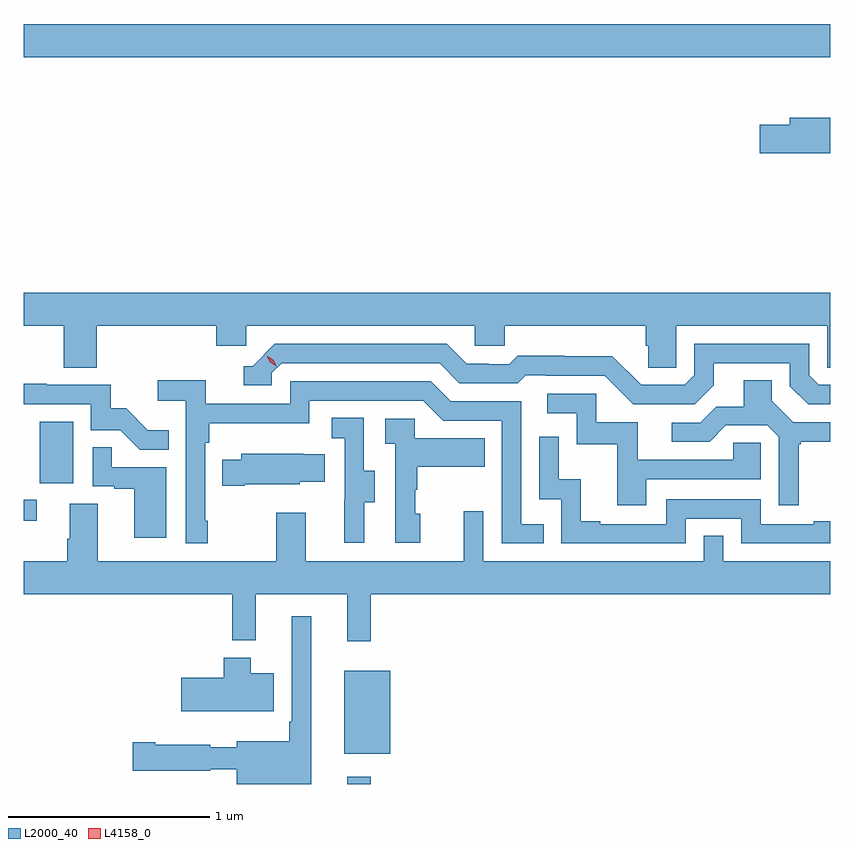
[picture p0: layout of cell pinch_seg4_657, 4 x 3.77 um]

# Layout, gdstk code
import gdstk
lib = gdstk.Library(unit=1e-6, precision=1e-09)
def R(c, l, rs):  # rectangles x0, y0, x1, y1
    for r in rs: c.add(gdstk.rectangle(r[:2], r[2:], *l))
def P(c, l, *ps):  # polygons
    for p in ps: c.add(gdstk.Polygon(p, *l))
L2000_40 = (2000, 40)
L4158_0 = (4158, 0)

pinch_seg4_657 = lib.new_cell('pinch_seg4_657')
R(pinch_seg4_657, L2000_40, [(1126.106,765.244,1126.223,765.28), (1126.091,765.395,1126.318,765.805), (1124.501,766.548,1124.566,766.653), (1124.582,766.734,1124.746,767.041), (1124.501,768.848,1128.501,769.012)])
P(pinch_seg4_657, L2000_40, [(1128.501,768.547),(1128.299,768.547),(1128.299,768.513),(1128.15,768.513),(1128.15,768.371),(1128.501,768.371)],
  [(1124.864,767.516),(1125.455,767.516),(1125.455,767.418),(1125.606,767.418),(1125.606,767.516),(1126.737,767.516),(1126.737,767.418),(1126.887,767.418),(1126.887,767.516),(1127.585,767.516),(1127.585,767.418),(1127.599,767.418),(1127.599,767.308),(1127.736,767.308),(1127.736,767.516),(1128.486,767.516),(1128.486,767.308),(1128.501,767.308),(1128.501,767.68),(1124.501,767.68),(1124.501,767.516),(1124.699,767.516),(1124.699,767.308),(1124.864,767.308)],
  [(1127.923,767.221),(1127.923,767.331),(1128.3,767.331),(1128.3,767.217),(1128.39,767.127),(1128.501,767.127),(1128.501,767.223),(1128.444,767.223),(1128.396,767.271),(1128.396,767.427),(1127.826,767.427),(1127.826,767.271),(1127.778,767.223),(1127.562,767.223),(1127.42,767.365),(1127.184,767.365),(1127.184,767.368),(1126.951,767.368),(1126.909,767.325),(1126.806,767.325),(1126.806,767.328),(1126.699,767.328),(1126.6,767.427),(1125.747,767.427),(1125.636,767.316),(1125.593,767.316),(1125.593,767.22),(1125.732,767.22),(1125.732,767.283),(1125.78,767.331),(1126.563,767.331),(1126.662,767.232),(1126.951,767.232),(1126.99,767.271),(1127.089,767.271),(1127.089,767.268),(1127.382,767.268),(1127.523,767.127),(1127.829,767.127)],
  [(1125.415,766.549),(1125.402,766.549),(1125.402,766.937),(1125.422,766.937),(1125.422,767.033),(1125.918,767.033),(1125.918,767.145),(1126.482,767.145),(1126.581,767.046),(1126.872,767.046),(1126.872,766.437),(1127.081,766.437),(1127.081,766.533),(1126.968,766.533),(1126.968,767.142),(1126.618,767.142),(1126.519,767.241),(1125.822,767.241),(1125.822,767.13),(1125.404,767.13),(1125.404,767.246),(1125.165,767.246),(1125.165,767.144),(1125.306,767.144),(1125.306,766.437),(1125.415,766.437)],
  [(1128.343,766.929),(1128.355,766.929),(1128.355,766.94),(1128.501,766.94),(1128.501,767.037),(1128.318,767.037),(1128.211,767.144),(1128.211,767.246),(1128.071,767.246),(1128.071,767.114),(1127.936,767.114),(1127.856,767.034),(1127.715,767.034),(1127.715,766.941),(1127.902,766.941),(1127.983,767.022),(1128.189,767.022),(1128.246,766.965),(1128.246,766.626),(1128.343,766.626)],
  [(1125.221,766.999),(1125.117,766.999),(1125.01,767.106),(1124.934,767.106),(1124.934,767.223),(1124.615,767.223),(1124.615,767.228),(1124.501,767.228),(1124.501,767.127),(1124.835,767.127),(1124.835,766.998),(1124.979,766.998),(1125.077,766.9),(1125.221,766.9)],
  [(1127.587,766.755),(1128.156,766.755),(1128.156,766.935),(1128.019,766.935),(1128.019,766.851),(1127.545,766.851),(1127.545,767.037),(1127.34,767.037),(1127.34,767.178),(1127.097,767.178),(1127.097,767.082),(1127.244,767.082),(1127.244,766.929),(1127.443,766.929),(1127.443,766.626),(1127.587,766.626)],
  [(1126.189,766.642),(1126.243,766.642),(1126.243,766.797),(1126.188,766.797),(1126.188,767.06),(1126.029,767.06),(1126.029,766.957),(1126.092,766.957),(1126.092,766.653),(1126.091,766.653),(1126.091,766.44),(1126.189,766.44)],
  [(1126.468,766.584),(1126.443,766.584),(1126.443,766.703),(1126.453,766.703),(1126.453,766.817),(1126.787,766.817),(1126.787,766.957),(1126.44,766.957),(1126.44,767.055),(1126.293,767.055),(1126.293,766.931),(1126.344,766.931),(1126.344,766.44),(1126.468,766.44)],
  [(1127.784,766.56),(1128.06,766.56),(1128.06,766.437),(1128.501,766.437),(1128.501,766.546),(1128.419,766.546),(1128.419,766.533),(1128.156,766.533),(1128.156,766.656),(1127.688,766.656),(1127.688,766.533),(1127.359,766.533),(1127.359,766.546),(1127.264,766.546),(1127.264,766.754),(1127.154,766.754),(1127.154,766.966),(1127.058,766.966),(1127.058,766.656),(1127.166,766.656),(1127.166,766.437),(1127.784,766.437)],
  [(1125.208,766.815),(1124.939,766.815),(1124.939,766.913),(1124.844,766.913),(1124.844,766.719),(1124.951,766.719),(1124.951,766.707),(1125.05,766.707),(1125.05,766.464),(1125.208,766.464)],
  [(1125.598,766.73),(1125.87,766.73),(1125.87,766.742),(1125.995,766.742),(1125.995,766.879),(1125.887,766.879),(1125.887,766.882),(1125.581,766.882),(1125.581,766.852),(1125.487,766.852),(1125.487,766.723),(1125.598,766.723)],
  [(1126.223,766.184),(1128.501,766.184),(1128.501,766.348),(1127.97,766.348),(1127.97,766.475),(1127.874,766.475),(1127.874,766.348),(1126.779,766.348),(1126.779,766.597),(1126.682,766.597),(1126.682,766.348),(1125.901,766.348),(1125.901,766.588),(1125.754,766.588),(1125.754,766.348),(1124.869,766.348),(1124.869,766.634),(1124.729,766.634),(1124.729,766.46),(1124.717,766.46),(1124.717,766.348),(1124.501,766.348),(1124.501,766.184),(1125.535,766.184),(1125.535,765.956),(1125.653,765.956),(1125.653,766.184),(1126.106,766.184),(1126.106,765.951),(1126.223,765.951)],
  [(1125.928,766.075),(1125.831,766.075),(1125.831,765.553),(1125.819,765.553),(1125.819,765.457),(1125.557,765.457),(1125.557,765.427),(1125.426,765.427),(1125.426,765.439),(1125.154,765.439),(1125.154,765.452),(1125.042,765.452),(1125.042,765.31),(1125.426,765.31),(1125.426,765.318),(1125.557,765.318),(1125.557,765.244),(1125.928,765.244)],
  [(1125.742,765.793),(1125.628,765.793),(1125.628,765.871),(1125.494,765.871),(1125.494,765.771),(1125.282,765.771),(1125.282,765.605),(1125.742,765.605)])
P(pinch_seg4_657, L4158_0, [(1125.754,767.315),(1125.723,767.335),(1125.707,767.367),(1125.707,767.368),(1125.707,767.368),(1125.738,767.348),(1125.754,767.316),(1125.754,767.315)])

lib.write_gds('pinch_seg4_657.gds')
